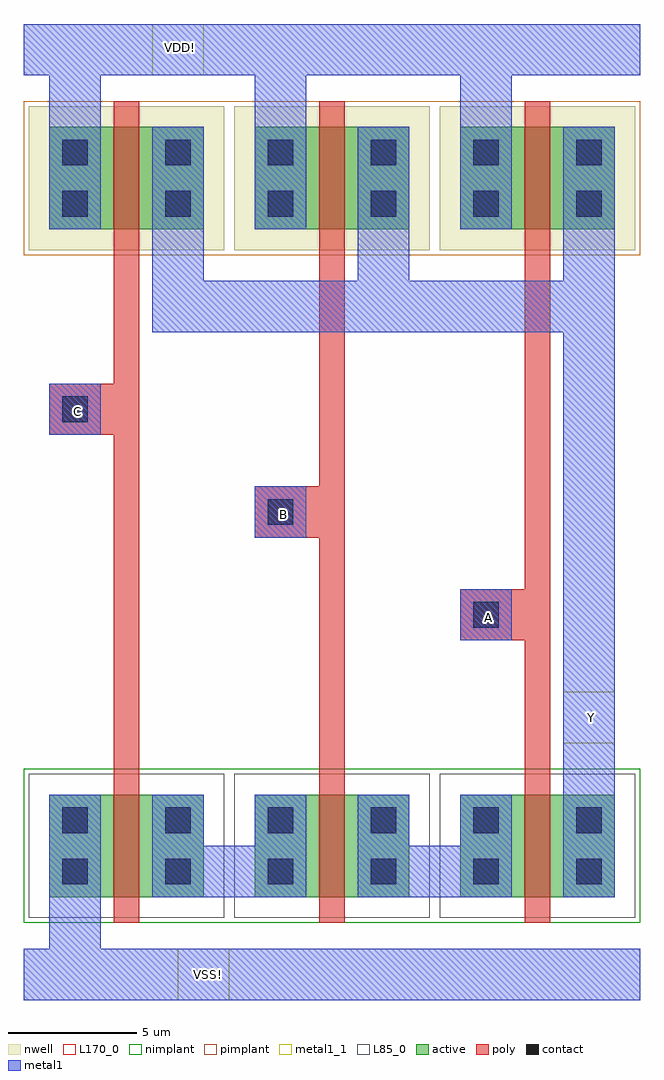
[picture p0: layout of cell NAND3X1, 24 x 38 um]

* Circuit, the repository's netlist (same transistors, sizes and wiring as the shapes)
* +++++++++++++++++++++++++++++++++++++++++++++++++++++++++ *
* CDL Netlist:                                              *
*                                                           *
* Cell Name  : NAND3X1                                      *
* Netlisted  : Tue Dec 21 09:32:23 2021                     *
* PVS Version: 16.15-s010 Fri Jun 28 22:24:07 PDT 2019      *
* +++++++++++++++++++++++++++++++++++++++++++++++++++++++++ *
*.LDD
*.DEVTMPLT 0 MN(nmos3) _nmos1v _soi_nd(D) poly_conn(G) _soi_nsb(S) _soi_nsb(B)
*.DEVTMPLT 1 MP(pmos3) _pmos1v _soi_pd(D) poly_conn(G) _soi_psb(S) _soi_psb(B)

* +++++++++++++++++++++++++++++++++++++++++++++++++++++++++ *
* Sub cell: pmos3_CDNS_2                                    *
* +++++++++++++++++++++++++++++++++++++++++++++++++++++++++ *
.subckt pmos3_CDNS_2 2 3 4
** N=5 EP=3 FDC=1
M0 3 4 2 2 pmos3 L=1e-06 W=4e-06 AD=1e-11 AS=0 PD=1.3e-05 PS=0 fw=4e-06 sa=2e-06 sb=2e-06 $X=7000 $Y=2000 $dt=1
.ends pmos3_CDNS_2

* +++++++++++++++++++++++++++++++++++++++++++++++++++++++++ *
* Sub cell: nmos3_CDNS_3                                    *
* +++++++++++++++++++++++++++++++++++++++++++++++++++++++++ *
.subckt nmos3_CDNS_3 2 3 4
** N=4 EP=3 FDC=1
M0 3 4 2 2 nmos3 L=1e-06 W=4e-06 AD=1e-11 AS=0 PD=1.3e-05 PS=0 fw=4e-06 sa=2e-06 sb=2e-06 $X=7000 $Y=2000 $dt=0
.ends nmos3_CDNS_3

* +++++++++++++++++++++++++++++++++++++++++++++++++++++++++ *
* Sub cell: NAND3X1                                         *
* +++++++++++++++++++++++++++++++++++++++++++++++++++++++++ *
.subckt NAND3X1 A B C VDD! VSS! Y
** N=9 EP=6 FDC=6
X3 VDD! Y C pmos3_CDNS_2 $T=16000 68000 0 180 $X=0 $Y=54000
X4 VDD! Y B pmos3_CDNS_2 $T=32000 68000 0 180 $X=16000 $Y=54000
X5 VDD! Y A pmos3_CDNS_2 $T=48000 68000 0 180 $X=32000 $Y=54000
X6 VSS! 8 C nmos3_CDNS_3 $T=16000 4000 1 180 $X=0 $Y=4000
X7 8 9 B nmos3_CDNS_3 $T=32000 4000 1 180 $X=16000 $Y=4000
X8 9 Y A nmos3_CDNS_3 $T=48000 4000 1 180 $X=32000 $Y=4000
.ends NAND3X1

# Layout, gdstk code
from math import pi, radians
import gdstk
lib = gdstk.Library(unit=1e-6, precision=5e-10)
def R(c, l, rs):  # rectangles x0, y0, x1, y1
    for r in rs: c.add(gdstk.rectangle(r[:2], r[2:], *l))
active = (1, 0)
nwell = (2, 0)
poly = (3, 0)
nimplant = (4, 0)
pimplant = (5, 0)
contact = (6, 0)
metal1 = (7, 0)
metal1_1 = (7, 1)
L85_0 = (85, 0)
L170_0 = (170, 0)

pmos3_cdns_2 = lib.new_cell('pmos3_CDNS_2')
R(pmos3_cdns_2, active, [(1,1,7,5)])
R(pmos3_cdns_2, nwell, [(0.2,0.2,7.8,5.8)])
R(pmos3_cdns_2, poly, [(3.5,0,4.5,7), (3.6,5.6,4.4,5.9)])
R(pmos3_cdns_2, pimplant, [(0,0,8,6)])
R(pmos3_cdns_2, contact, [(1.5,1.5,2.5,2.5), (5.5,1.5,6.5,2.5), (5.5,1.5,6.5,2.5), (1.5,3.5,2.5,4.5), (5.5,3.5,6.5,4.5)])
R(pmos3_cdns_2, metal1, [(1,1,3,5), (5,1,7,5), (1.3,1.3,2.7,2.7), (5.3,1.3,6.7,2.7)])
R(pmos3_cdns_2, L170_0, [(4.5,1,7,5)])

nmos3_cdns_3 = lib.new_cell('nmos3_CDNS_3')
R(nmos3_cdns_3, active, [(1,1,7,5)])
R(nmos3_cdns_3, poly, [(3.5,0,4.5,7), (3.6,5.5,4.4,5.9)])
R(nmos3_cdns_3, nimplant, [(0,0,8,6)])
R(nmos3_cdns_3, contact, [(1.5,1.5,2.5,2.5), (5.5,1.5,6.5,2.5), (5.5,1.5,6.5,2.5), (1.5,3.5,2.5,4.5), (5.5,3.5,6.5,4.5)])
R(nmos3_cdns_3, metal1, [(1,1,3,5), (5,1,7,5), (1.3,1.3,2.7,4.7), (5.3,1.3,6.7,4.7)])
R(nmos3_cdns_3, L85_0, [(0.2,0.2,7.8,5.8)])
R(nmos3_cdns_3, L170_0, [(4.5,1,7,5)])

m1_po_cdns_1 = lib.new_cell('M1_PO_CDNS_1')
R(m1_po_cdns_1, poly, [(-1,-1,1,1)])
R(m1_po_cdns_1, contact, [(-0.5,-0.5,0.5,0.5)])
R(m1_po_cdns_1, metal1, [(-1,-1,1,1)])

nand3x1 = lib.new_cell('NAND3X1')
R(nand3x1, poly, [(18.6,13,20,15), (10.5,17,12,19), (2.4,21,4,23)])
R(nand3x1, metal1, [(17,13,19,15), (9,17,11,19), (1,21,3,23)])
R(nand3x1, metal1_1, [(6,-1,8,1), (21,9,23,11), (17,13,19,15), (9,17,11,19), (1,21,3,23), (5,35,7,37)])
nand3x1.add(gdstk.FlexPath([(22,26),(22,3.1)], 2, ends=(1, 0), simple_path=True, layer=7, datatype=0))  # metal1
nand3x1.add(gdstk.FlexPath([(6,26),(14,26)], 2, ends="extended", simple_path=True, layer=7, datatype=0))  # metal1
nand3x1.add(gdstk.FlexPath([(14,32.7),(14,26)], 2, ends=(0, 1), simple_path=True, layer=7, datatype=0))  # metal1
nand3x1.add(gdstk.FlexPath([(22,32.9),(22,26)], 2, ends=(0, 1), simple_path=True, layer=7, datatype=0))  # metal1
nand3x1.add(gdstk.FlexPath([(14,26),(22,26)], 2, ends="extended", simple_path=True, layer=7, datatype=0))  # metal1
nand3x1.add(gdstk.FlexPath([(6,32.7),(6,26)], 2, ends=(0, 1), simple_path=True, layer=7, datatype=0))  # metal1
nand3x1.add(gdstk.FlexPath([(0,36),(2,36)], 2, ends=(0, 1), simple_path=True, layer=7, datatype=0))  # metal1
nand3x1.add(gdstk.FlexPath([(2,29),(2,36)], 2, ends=(0, 1), simple_path=True, layer=7, datatype=0))  # metal1
nand3x1.add(gdstk.FlexPath([(10,36),(18,36)], 2, ends="extended", simple_path=True, layer=7, datatype=0))  # metal1
nand3x1.add(gdstk.FlexPath([(18,29.3),(18,36)], 2, ends=(0, 1), simple_path=True, layer=7, datatype=0))  # metal1
nand3x1.add(gdstk.FlexPath([(2,36),(10,36)], 2, ends="extended", simple_path=True, layer=7, datatype=0))  # metal1
nand3x1.add(gdstk.FlexPath([(10,29.3),(10,36)], 2, ends=(0, 1), simple_path=True, layer=7, datatype=0))  # metal1
nand3x1.add(gdstk.FlexPath([(14,4),(18.7,4)], 2, ends=(1, 0), simple_path=True, layer=7, datatype=0))  # metal1
nand3x1.add(gdstk.FlexPath([(14,6.7),(14,4)], 2, ends=(0, 1), simple_path=True, layer=7, datatype=0))  # metal1
nand3x1.add(gdstk.FlexPath([(6,4),(10.7,4)], 2, ends=(1, 0), simple_path=True, layer=7, datatype=0))  # metal1
nand3x1.add(gdstk.FlexPath([(6,6.7),(6,4)], 2, ends=(0, 1), simple_path=True, layer=7, datatype=0))  # metal1
nand3x1.add(gdstk.FlexPath([(0,0),(2,0)], 2, ends=(0, 1), simple_path=True, layer=7, datatype=0))  # metal1
nand3x1.add(gdstk.FlexPath([(2,6.9),(2,0)], 2, ends=(0, 1), simple_path=True, layer=7, datatype=0))  # metal1
nand3x1.add(gdstk.FlexPath([(2,0),(24,0)], 2, ends=(1, 0), simple_path=True, layer=7, datatype=0))  # metal1
nand3x1.add(gdstk.FlexPath([(18,36),(24,36)], 2, ends=(1, 0), simple_path=True, layer=7, datatype=0))  # metal1
nand3x1.add(gdstk.FlexPath([(20,29.3),(20,7.2)], 1, ends="flush", simple_path=True, layer=3, datatype=0))  # poly
nand3x1.add(gdstk.FlexPath([(12,7.2),(12,29.5)], 1, ends="flush", simple_path=True, layer=3, datatype=0))  # poly
nand3x1.add(gdstk.FlexPath([(4,29.3),(4,7)], 1, ends="flush", simple_path=True, layer=3, datatype=0))  # poly
nand3x1.add(gdstk.Reference(pmos3_cdns_2, (8,34), rotation=pi))
nand3x1.add(gdstk.Reference(pmos3_cdns_2, (16,34), rotation=pi))
nand3x1.add(gdstk.Reference(pmos3_cdns_2, (24,34), rotation=pi))
nand3x1.add(gdstk.Reference(nmos3_cdns_3, (24,2), rotation=pi, x_reflection=True))
nand3x1.add(gdstk.Reference(nmos3_cdns_3, (16,2), rotation=pi, x_reflection=True))
nand3x1.add(gdstk.Reference(nmos3_cdns_3, (8,2), rotation=pi, x_reflection=True))
nand3x1.add(gdstk.Reference(m1_po_cdns_1, (18,14)))
nand3x1.add(gdstk.Reference(m1_po_cdns_1, (10,18)))
nand3x1.add(gdstk.Reference(m1_po_cdns_1, (2,22)))
nand3x1.add(gdstk.Label('VDD!', (6.1,36.1), layer=7, texttype=3))
nand3x1.add(gdstk.Label('VSS!', (7.2,0), layer=7, texttype=3))
nand3x1.add(gdstk.Label('Y', (22.1,10), layer=7, texttype=3))
nand3x1.add(gdstk.Label('A', (18.1,13.9), layer=7, texttype=3))
nand3x1.add(gdstk.Label('B', (10.1,17.9), layer=7, texttype=3))
nand3x1.add(gdstk.Label('C', (2.1,21.9), layer=7, texttype=3))

lib.write_gds('NAND3X1.gds')
